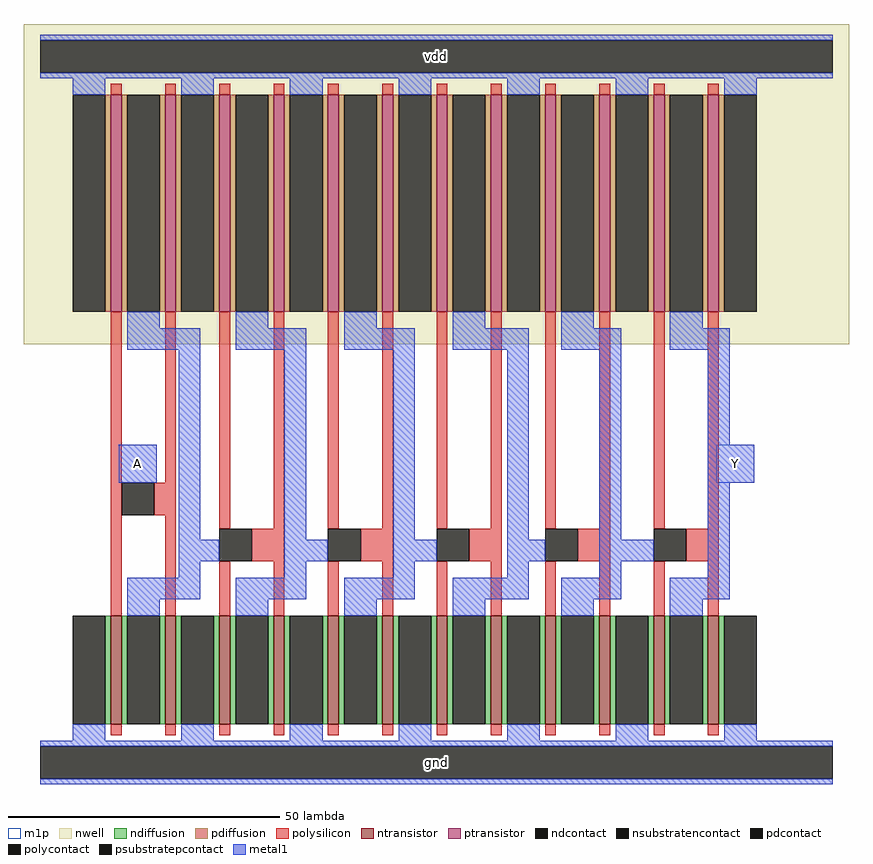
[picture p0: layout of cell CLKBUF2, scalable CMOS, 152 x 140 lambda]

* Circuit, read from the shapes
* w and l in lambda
.subckt CLKBUF2 A Y vdd gnd
M1 n1 A gnd gnd nfet w=20 l=2 m=2
M2 n2 n1 gnd gnd nfet w=20 l=2 m=2
M3 n3 n2 gnd gnd nfet w=20 l=2 m=2
M4 n4 n3 gnd gnd nfet w=20 l=2 m=2
M5 n5 n4 gnd gnd nfet w=20 l=2 m=2
M6 Y n5 gnd gnd nfet w=20 l=2 m=2
M7 n1 A vdd vdd pfet w=40 l=2 m=2
M8 n2 n1 vdd vdd pfet w=40 l=2 m=2
M9 n3 n2 vdd vdd pfet w=40 l=2 m=2
M10 n4 n3 vdd vdd pfet w=40 l=2 m=2
M11 n5 n4 vdd vdd pfet w=40 l=2 m=2
M12 Y n5 vdd vdd pfet w=40 l=2 m=2
.ends

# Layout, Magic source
magic
tech scmos
magscale 1 2
<< nwell >>
rect -12 154 292 272
<< ntransistor >>
rect 20 14 24 54
rect 40 14 44 54
rect 60 14 64 54
rect 80 14 84 54
rect 100 14 104 54
rect 120 14 124 54
rect 140 14 144 54
rect 160 14 164 54
rect 180 14 184 54
rect 200 14 204 54
rect 220 14 224 54
rect 240 14 244 54
<< ptransistor >>
rect 20 166 24 246
rect 40 166 44 246
rect 60 166 64 246
rect 80 166 84 246
rect 100 166 104 246
rect 120 166 124 246
rect 140 166 144 246
rect 160 166 164 246
rect 180 166 184 246
rect 200 166 204 246
rect 220 166 224 246
rect 240 166 244 246
<< ndiffusion >>
rect 18 14 20 54
rect 24 14 26 54
rect 38 14 40 54
rect 44 14 46 54
rect 58 14 60 54
rect 64 14 66 54
rect 78 14 80 54
rect 84 14 86 54
rect 98 14 100 54
rect 104 14 106 54
rect 118 14 120 54
rect 124 14 126 54
rect 138 14 140 54
rect 144 14 146 54
rect 158 14 160 54
rect 164 14 166 54
rect 178 14 180 54
rect 184 14 186 54
rect 198 14 200 54
rect 204 14 206 54
rect 218 14 220 54
rect 224 14 226 54
rect 238 14 240 54
rect 244 14 246 54
<< pdiffusion >>
rect 18 166 20 246
rect 24 166 26 246
rect 38 166 40 246
rect 44 166 46 246
rect 58 166 60 246
rect 64 166 66 246
rect 78 166 80 246
rect 84 166 86 246
rect 98 166 100 246
rect 104 166 106 246
rect 118 166 120 246
rect 124 166 126 246
rect 138 166 140 246
rect 144 166 146 246
rect 158 166 160 246
rect 164 166 166 246
rect 178 166 180 246
rect 184 166 186 246
rect 198 166 200 246
rect 204 166 206 246
rect 218 166 220 246
rect 224 166 226 246
rect 238 166 240 246
rect 244 166 246 246
<< ndcontact >>
rect 6 14 18 54
rect 26 14 38 54
rect 46 14 58 54
rect 66 14 78 54
rect 86 14 98 54
rect 106 14 118 54
rect 126 14 138 54
rect 146 14 158 54
rect 166 14 178 54
rect 186 14 198 54
rect 206 14 218 54
rect 226 14 238 54
rect 246 14 258 54
<< pdcontact >>
rect 6 166 18 246
rect 26 166 38 246
rect 46 166 58 246
rect 66 166 78 246
rect 86 166 98 246
rect 106 166 118 246
rect 126 166 138 246
rect 146 166 158 246
rect 166 166 178 246
rect 186 166 198 246
rect 206 166 218 246
rect 226 166 238 246
rect 246 166 258 246
<< psubstratepcontact >>
rect -6 -6 286 6
<< nsubstratencontact >>
rect -6 254 286 266
<< polysilicon >>
rect 20 246 24 250
rect 40 246 44 250
rect 60 246 64 250
rect 80 246 84 250
rect 100 246 104 250
rect 120 246 124 250
rect 140 246 144 250
rect 160 246 164 250
rect 180 246 184 250
rect 200 246 204 250
rect 220 246 224 250
rect 240 246 244 250
rect 20 54 24 166
rect 40 103 44 166
rect 36 91 44 103
rect 40 54 44 91
rect 60 86 64 166
rect 80 86 84 166
rect 72 74 84 86
rect 60 54 64 74
rect 80 54 84 74
rect 100 86 104 166
rect 120 86 124 166
rect 112 74 124 86
rect 100 54 104 74
rect 120 54 124 74
rect 140 86 144 166
rect 160 86 164 166
rect 152 74 164 86
rect 140 54 144 74
rect 160 54 164 74
rect 180 86 184 166
rect 200 86 204 166
rect 192 74 204 86
rect 180 54 184 74
rect 200 54 204 74
rect 220 86 224 166
rect 240 86 244 166
rect 232 74 244 86
rect 220 54 224 74
rect 240 54 244 74
rect 20 10 24 14
rect 40 10 44 14
rect 60 10 64 14
rect 80 10 84 14
rect 100 10 104 14
rect 120 10 124 14
rect 140 10 144 14
rect 160 10 164 14
rect 180 10 184 14
rect 200 10 204 14
rect 220 10 224 14
rect 240 10 244 14
<< polycontact >>
rect 24 91 36 103
rect 60 74 72 86
rect 100 74 112 86
rect 140 74 152 86
rect 180 74 192 86
rect 220 74 232 86
<< metal1 >>
rect -6 266 286 268
rect -6 252 286 254
rect 6 246 18 252
rect 46 246 58 252
rect 86 246 98 252
rect 126 246 138 252
rect 166 246 178 252
rect 206 246 218 252
rect 246 246 258 252
rect 26 160 38 166
rect 66 160 78 166
rect 106 160 118 166
rect 146 160 158 166
rect 186 160 198 166
rect 226 160 238 166
rect 26 152 53 160
rect 66 152 92 160
rect 106 152 132 160
rect 146 152 174 160
rect 186 152 208 160
rect 226 152 248 160
rect 23 103 37 117
rect 45 82 53 152
rect 45 74 60 82
rect 84 82 92 152
rect 84 74 100 82
rect 124 82 132 152
rect 124 74 140 82
rect 166 82 174 152
rect 166 74 180 82
rect 200 82 208 152
rect 240 117 248 152
rect 240 103 257 117
rect 200 74 220 82
rect 45 68 53 74
rect 84 68 92 74
rect 124 68 132 74
rect 166 68 174 74
rect 200 68 208 74
rect 240 68 248 103
rect 26 60 53 68
rect 66 60 92 68
rect 106 60 132 68
rect 146 60 174 68
rect 186 60 208 68
rect 226 60 248 68
rect 26 54 38 60
rect 66 54 78 60
rect 106 54 118 60
rect 146 54 158 60
rect 186 54 198 60
rect 226 54 238 60
rect 6 8 18 14
rect 46 8 58 14
rect 86 8 98 14
rect 126 8 138 14
rect 166 8 178 14
rect 206 8 218 14
rect 246 8 258 14
rect -6 6 286 8
rect -6 -8 286 -6
<< m1p >>
rect 23 103 37 117
rect 243 103 257 117
<< labels >>
rlabel metal1 23 103 37 117 0 A
port 0 nsew signal input
rlabel metal1 243 103 257 117 0 Y
port 1 nsew signal output
rlabel metal1 -6 252 286 268 0 vdd
port 2 nsew power bidirectional abutment
rlabel metal1 -6 -8 286 8 0 gnd
port 3 nsew ground bidirectional abutment
<< properties >>
string FIXED_BBOX 0 0 280 260
string LEFclass CORE
string LEFsite core
string LEFsymmetry X Y
<< end >>
